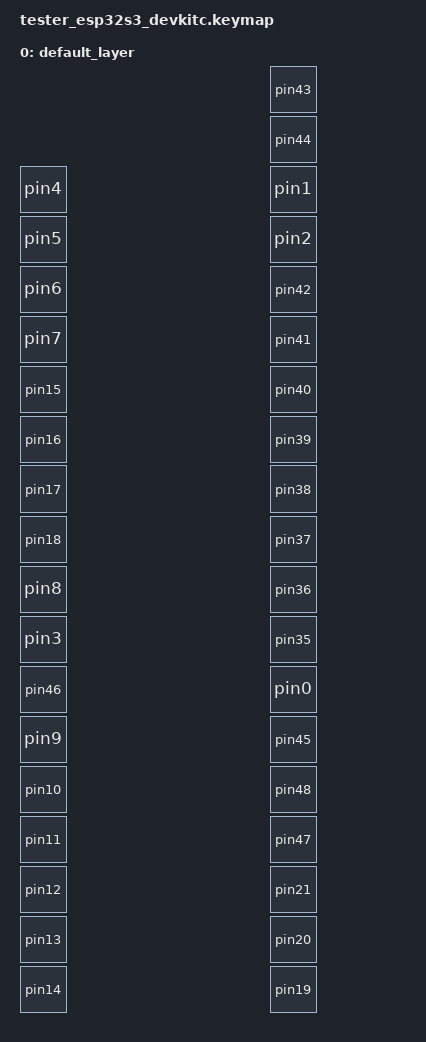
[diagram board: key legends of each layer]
#include <behaviors.dtsi>
#include <dt-bindings/zmk/keys.h>

#define GPIO_MACRO(name, pin) \
/ { \
    macros { \
        name: name { \
            compatible = "zmk,behavior-macro"; \
            wait-ms = <5>; \
            tap-ms = <5>; \
            #binding-cells = <0>; \
            bindings = <&kp G &kp P &kp I &kp O &kp SPACE>, pin, <&kp ENTER>; \
        }; \
    }; \
};

GPIO_MACRO(pin0, <&kp N0>)
GPIO_MACRO(pin1, <&kp N1>)
GPIO_MACRO(pin2, <&kp N2>)
GPIO_MACRO(pin3, <&kp N3>)
GPIO_MACRO(pin4, <&kp N4>)
GPIO_MACRO(pin5, <&kp N5>)
GPIO_MACRO(pin6, <&kp N6>)
GPIO_MACRO(pin7, <&kp N7>)
GPIO_MACRO(pin8, <&kp N8>)
GPIO_MACRO(pin9, <&kp N9>)
GPIO_MACRO(pin10, <&kp N1 &kp N0>)
GPIO_MACRO(pin11, <&kp N1 &kp N1>)
GPIO_MACRO(pin12, <&kp N1 &kp N2>)
GPIO_MACRO(pin13, <&kp N1 &kp N3>)
GPIO_MACRO(pin14, <&kp N1 &kp N4>)
GPIO_MACRO(pin15, <&kp N1 &kp N5>)
GPIO_MACRO(pin16, <&kp N1 &kp N6>)
GPIO_MACRO(pin17, <&kp N1 &kp N7>)
GPIO_MACRO(pin18, <&kp N1 &kp N8>)
GPIO_MACRO(pin19, <&kp N1 &kp N9>)
GPIO_MACRO(pin20, <&kp N2 &kp N0>)
GPIO_MACRO(pin21, <&kp N2 &kp N1>)
// GPIO 22 to 34 are not exposed as pins
GPIO_MACRO(pin35, <&kp N3 &kp N3>)
GPIO_MACRO(pin36, <&kp N3 &kp N6>)
GPIO_MACRO(pin37, <&kp N3 &kp N7>)
GPIO_MACRO(pin38, <&kp N3 &kp N8>)
GPIO_MACRO(pin39, <&kp N3 &kp N9>)
GPIO_MACRO(pin40, <&kp N4 &kp N0>)
GPIO_MACRO(pin41, <&kp N4 &kp N1>)
GPIO_MACRO(pin42, <&kp N4 &kp N2>)
GPIO_MACRO(pin43, <&kp N4 &kp N3>)
GPIO_MACRO(pin44, <&kp N4 &kp N4>)
GPIO_MACRO(pin45, <&kp N4 &kp N5>)
GPIO_MACRO(pin46, <&kp N4 &kp N6>)
GPIO_MACRO(pin47, <&kp N4 &kp N7>)
GPIO_MACRO(pin48, <&kp N4 &kp N8>)

/ {
    keymap {
        compatible = "zmk,keymap";

        default_layer {
            // listing top left to bottom left, then bottom right to top right:
            bindings = <&pin4
                        &pin5
                        &pin6
                        &pin7
                        &pin15
                        &pin16
                        &pin17
                        &pin18
                        &pin8
                        &pin3
                        &pin46
                        &pin9
                        &pin10
                        &pin11
                        &pin12
                        &pin13
                        &pin14
                        &pin19
                        &pin20
                        &pin21
                        &pin47
                        &pin48
                        &pin45
                        &pin0
                        &pin35
                        &pin36
                        &pin37
                        &pin38
                        &pin39
                        &pin40
                        &pin41
                        &pin42
                        &pin2
                        &pin1
                        &pin44
                        &pin43>;
        };
    };
};
